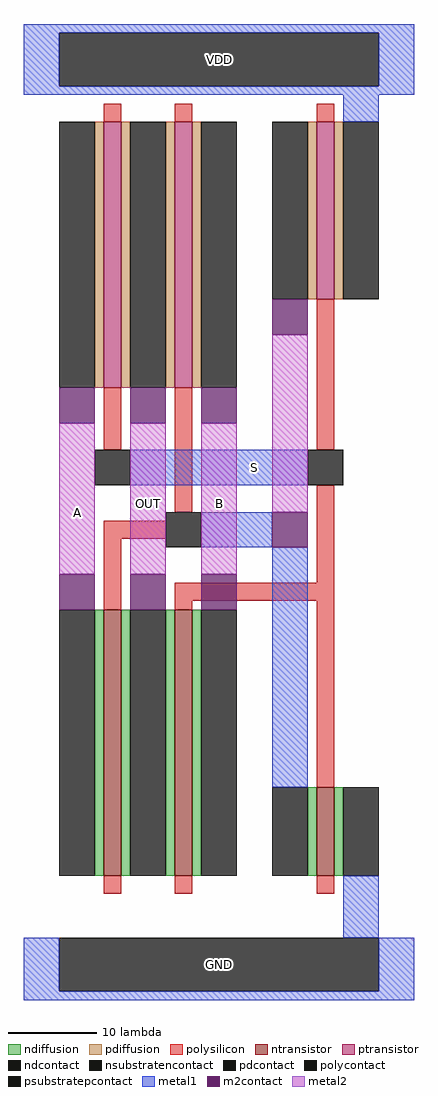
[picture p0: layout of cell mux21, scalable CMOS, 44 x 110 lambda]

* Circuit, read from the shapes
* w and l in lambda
.subckt mux21 A B GND OUT S VDD
M1 OUT n1 A GND nfet w=30 l=2
M2 B S OUT GND nfet w=30 l=2
M3 GND S n1 GND nfet w=10 l=2
M4 OUT S A VDD pfet w=30 l=2
M5 B n1 OUT VDD pfet w=30 l=2
M6 VDD S n1 VDD pfet w=20 l=2
.ends

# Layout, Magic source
magic
tech scmos
<< ntransistor >>
rect -3 -55 -1 -25
rect 5 -55 7 -25
rect 21 -55 23 -45
<< ptransistor >>
rect -3 0 -1 30
rect 5 0 7 30
rect 21 10 23 30
<< ndiffusion >>
rect -4 -55 -3 -25
rect -1 -55 0 -25
rect 4 -55 5 -25
rect 7 -55 8 -25
rect 20 -55 21 -45
rect 23 -55 24 -45
<< pdiffusion >>
rect -4 0 -3 30
rect -1 0 0 30
rect 4 0 5 30
rect 7 0 8 30
rect 20 10 21 30
rect 23 10 24 30
<< ndcontact >>
rect -8 -55 -4 -25
rect 0 -55 4 -25
rect 8 -55 12 -25
rect 16 -55 20 -45
rect 24 -55 28 -45
<< pdcontact >>
rect -8 0 -4 30
rect 0 0 4 30
rect 8 0 12 30
rect 16 10 20 30
rect 24 10 28 30
<< psubstratepcontact >>
rect -8 -68 28 -62
<< nsubstratencontact >>
rect -8 34 28 40
<< polysilicon >>
rect -3 30 -1 32
rect 5 30 7 32
rect 21 30 23 32
rect -3 -7 -1 0
rect 5 -14 7 0
rect 21 -7 23 10
rect -3 -17 4 -15
rect -3 -25 -1 -17
rect 21 -22 23 -11
rect 5 -24 23 -22
rect 5 -25 7 -24
rect 21 -45 23 -24
rect -3 -57 -1 -55
rect 5 -57 7 -55
rect 21 -57 23 -55
<< polycontact >>
rect -4 -11 0 -7
rect 20 -11 24 -7
rect 4 -18 8 -14
<< metal1 >>
rect -12 40 32 41
rect -12 34 -8 40
rect 28 34 32 40
rect -12 33 32 34
rect 24 30 28 33
rect 0 -11 20 -7
rect 8 -18 16 -14
rect 16 -45 20 -18
rect 24 -62 28 -55
rect -12 -68 -8 -62
rect 28 -68 32 -62
rect -12 -69 32 -68
<< m2contact >>
rect -8 -4 -4 0
rect 0 -4 4 0
rect 16 6 20 10
rect 8 -4 12 0
rect 16 -18 20 -14
rect -8 -25 -4 -21
rect 0 -25 4 -21
rect 8 -25 12 -21
<< metal2 >>
rect -8 -21 -4 -4
rect 0 -21 4 -4
rect 8 -21 12 -4
rect 16 -14 20 6
<< labels >>
rlabel psubstratepcontact 10 -65 10 -65 0 GND
rlabel nsubstratencontact 10 37 10 37 0 VDD
rlabel metal1 14 -9 14 -9 0 S
rlabel metal2 10 -13 10 -13 0 B
rlabel metal2 -6 -14 -6 -14 0 A
rlabel metal2 2 -13 2 -13 0 OUT
<< end >>
